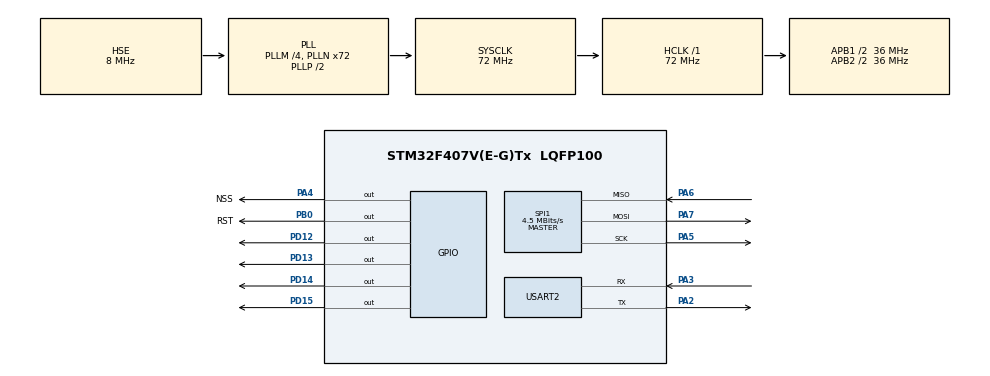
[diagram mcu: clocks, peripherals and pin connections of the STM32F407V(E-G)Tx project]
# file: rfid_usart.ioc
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Mcu.Family=STM32F4
Mcu.Name=STM32F407V(E-G)Tx
Mcu.Package=LQFP100
NVIC.PriorityGroup=NVIC_PRIORITYGROUP_0
PA13.Mode=Serial_Wire
PA13.Signal=SYS_JTMS-SWDIO
PA14.Mode=Serial_Wire
PA14.Signal=SYS_JTCK-SWCLK
PA2.Mode=Asynchronous
PA2.Signal=USART2_TX
PA3.Mode=Asynchronous
PA3.Signal=USART2_RX
PA4.GPIO_Label=NSS
PA4.Signal=GPIO_Output
PA5.Mode=Full_Duplex_Master
PA5.Signal=SPI1_SCK
PA6.Mode=Full_Duplex_Master
PA6.Signal=SPI1_MISO
PA7.Mode=Full_Duplex_Master
PA7.Signal=SPI1_MOSI
PB0.GPIO_Label=RST
PB0.Signal=GPIO_Output
PD12.Signal=GPIO_Output
PD13.Signal=GPIO_Output
PD14.Signal=GPIO_Output
PD15.Signal=GPIO_Output
PH0-OSC_IN.Mode=HSE-External-Oscillator
PH0-OSC_IN.Signal=RCC_OSC_IN
PH1-OSC_OUT.Mode=HSE-External-Oscillator
PH1-OSC_OUT.Signal=RCC_OSC_OUT
ProjectManager.HeapSize=0x200
ProjectManager.StackSize=0x400
ProjectManager.TargetToolchain=MDK-ARM V5.32
RCC.48MHZClocksFreq_Value=20571428.57142857
RCC.AHBFreq_Value=72000000
RCC.APB1CLKDivider=RCC_HCLK_DIV2
RCC.APB1Freq_Value=36000000
RCC.APB1TimFreq_Value=72000000
RCC.APB2CLKDivider=RCC_HCLK_DIV2
RCC.APB2Freq_Value=36000000
RCC.APB2TimFreq_Value=72000000
RCC.CortexFreq_Value=72000000
RCC.HCLKFreq_Value=72000000
RCC.HSE_VALUE=8000000
RCC.HSI_VALUE=16000000
RCC.PLLM=4
RCC.PLLN=72
RCC.PLLQ=7
RCC.PLLSourceVirtual=RCC_PLLSOURCE_HSE
RCC.SYSCLKFreq_VALUE=72000000
RCC.SYSCLKSource=RCC_SYSCLKSOURCE_PLLCLK
RCC.VCOOutputFreq_Value=144000000
SPI1.BaudRatePrescaler=SPI_BAUDRATEPRESCALER_8
SPI1.CalculateBaudRate=4.5 MBits/s
SPI1.Direction=SPI_DIRECTION_2LINES
SPI1.Mode=SPI_MODE_MASTER
SPI1.VirtualType=VM_MASTER
USART2.VirtualMode=VM_ASYNC
board=STM32F407G-DISC1

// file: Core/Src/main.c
/* USER CODE BEGIN Header */
/**
  ******************************************************************************
  * @file           : main.c
  * @brief          : Main program body
  ******************************************************************************
  * @attention
  *
  * Copyright (c) 2024 STMicroelectronics.
  * All rights reserved.
  *
  * This software is licensed under terms that can be found in the LICENSE file
  * in the root directory of this software component.
  * If no LICENSE file comes with this software, it is provided AS-IS.
  *
  ******************************************************************************
  */
/* USER CODE END Header */
#include "main.h"
#include "spi.h"
#include "usart.h"
#include "gpio.h"

/* USER CODE BEGIN Includes */
#include "rc522.h"
#include "string.h"
#include "stdio.h"
/* USER CODE END Includes */

/* USER CODE BEGIN PV */
uint8_t txData[5];
uint8_t status;
uint8_t str[MAX_LEN]; // Max_LEN = 16
//uint8_t sNum[5];
/* USER CODE END PV */

void SystemClock_Config(void);

int main(void)
{

  /* MCU Configuration--------------------------------------------------------*/

  /* Reset of all peripherals, Initializes the Flash interface and the Systick. */
  HAL_Init();

  /* Configure the system clock */
  SystemClock_Config();

  /* Initialize all configured peripherals */
  MX_GPIO_Init();
  MX_SPI1_Init();
  MX_USART2_UART_Init();
  /* USER CODE BEGIN 2 */
	MFRC522_Init();
  /* USER CODE END 2 */

  /* Infinite loop */
  /* USER CODE BEGIN WHILE */
  while (1)
  {
		//status = MFRC522_Request(PICC_REQIDL, str);
		status = MFRC522_Anticoll(str);
		//memcpy(txData, str, 5);
		//HAL_Delay(100);

		if (status == MI_OK) {
    // Anti-collision succeeded, print the serial number
			HAL_GPIO_WritePin(GPIOD, GPIO_PIN_12, GPIO_PIN_SET);
    printf("Card Serial Number: ");
    for (int i = 0; i < 5; i++) {
        printf("%02X ", txData[i]);
    }
    printf("\n");
} else {
    // Anti-collision failed
    printf("Anti-collision failed. Status: %d\n", status);
}
		//HAL_UART_Transmit(&huart2, txData, sizeof(txData), HAL_MAX_DELAY);
		//HAL_GPIO_TogglePin(GPIOD, GPIO_PIN_12);

//			if((str[0]==115) && (str[1]==93) && (str[2]==75) && (str[3]==22) && (str[4]==115) )
//				{
//					HAL_GPIO_WritePin(GPIOD,GPIO_PIN_12,GPIO_PIN_RESET);
//					HAL_Delay(100);
//				}
//			else if((str[0]==199) && (str[1]==102) && (str[2]==209) && (str[3]==215) && (str[4]==167) ){
//					HAL_GPIO_WritePin(GPIOD,GPIO_PIN_12,GPIO_PIN_RESET);
//					HAL_Delay(2000);
//				}
//			else
//			{
//					HAL_GPIO_WritePin(GPIOD,GPIO_PIN_12,GPIO_PIN_SET);
//			}
    /* USER CODE END WHILE */

  }
}

void SystemClock_Config(void)
{
  RCC_OscInitTypeDef RCC_OscInitStruct = {0};
  RCC_ClkInitTypeDef RCC_ClkInitStruct = {0};

  /** Configure the main internal regulator output voltage
  */
  __HAL_RCC_PWR_CLK_ENABLE();
  __HAL_PWR_VOLTAGESCALING_CONFIG(PWR_REGULATOR_VOLTAGE_SCALE1);

  /** Initializes the RCC Oscillators according to the specified parameters
  * in the RCC_OscInitTypeDef structure.
  */
  RCC_OscInitStruct.OscillatorType = RCC_OSCILLATORTYPE_HSE;
  RCC_OscInitStruct.HSEState = RCC_HSE_ON;
  RCC_OscInitStruct.PLL.PLLState = RCC_PLL_ON;
  RCC_OscInitStruct.PLL.PLLSource = RCC_PLLSOURCE_HSE;
  RCC_OscInitStruct.PLL.PLLM = 4;
  RCC_OscInitStruct.PLL.PLLN = 72;
  RCC_OscInitStruct.PLL.PLLP = RCC_PLLP_DIV2;
  RCC_OscInitStruct.PLL.PLLQ = 7;
  if (HAL_RCC_OscConfig(&RCC_OscInitStruct) != HAL_OK)
  {
    Error_Handler();
  }

  /** Initializes the CPU, AHB and APB buses clocks
  */
  RCC_ClkInitStruct.ClockType = RCC_CLOCKTYPE_HCLK|RCC_CLOCKTYPE_SYSCLK
                              |RCC_CLOCKTYPE_PCLK1|RCC_CLOCKTYPE_PCLK2;
  RCC_ClkInitStruct.SYSCLKSource = RCC_SYSCLKSOURCE_PLLCLK;
  RCC_ClkInitStruct.AHBCLKDivider = RCC_SYSCLK_DIV1;
  RCC_ClkInitStruct.APB1CLKDivider = RCC_HCLK_DIV2;
  RCC_ClkInitStruct.APB2CLKDivider = RCC_HCLK_DIV2;

  if (HAL_RCC_ClockConfig(&RCC_ClkInitStruct, FLASH_LATENCY_2) != HAL_OK)
  {
    Error_Handler();
  }
}

void Error_Handler(void)
{
  __disable_irq();
  while (1)
  {
  }
}
